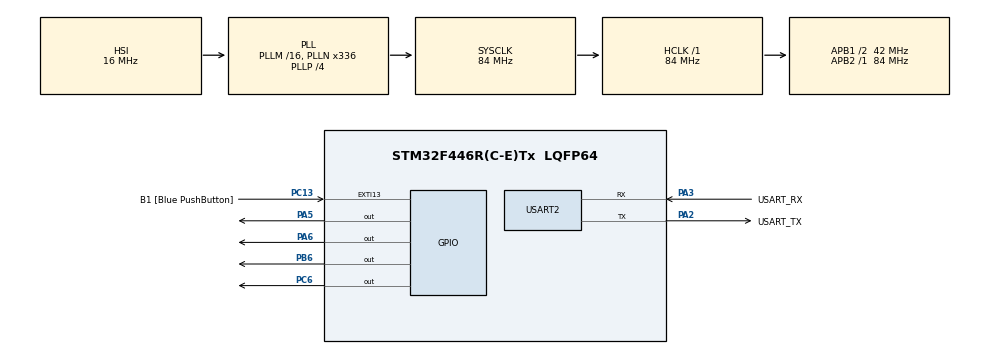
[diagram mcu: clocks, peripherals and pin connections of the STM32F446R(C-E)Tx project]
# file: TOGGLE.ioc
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Mcu.Family=STM32F4
Mcu.Name=STM32F446R(C-E)Tx
Mcu.Package=LQFP64
NVIC.PriorityGroup=NVIC_PRIORITYGROUP_0
PA13.GPIO_Label=TMS
PA13.Mode=Serial_Wire
PA13.Signal=SYS_JTMS-SWDIO
PA14.GPIO_Label=TCK
PA14.Mode=Serial_Wire
PA14.Signal=SYS_JTCK-SWCLK
PA2.GPIO_Label=USART_TX
PA2.Mode=Asynchronous
PA2.Signal=USART2_TX
PA3.GPIO_Label=USART_RX
PA3.Mode=Asynchronous
PA3.Signal=USART2_RX
PA5.Signal=GPIO_Output
PA6.Signal=GPIO_Output
PB3.GPIO_Label=SWO
PB3.Signal=SYS_JTDO-SWO
PB6.Signal=GPIO_Output
PC13.GPIO_Label=B1 [Blue PushButton]
PC13.GPIO_ModeDefaultEXTI=GPIO_MODE_IT_FALLING
PC13.Signal=GPXTI13
PC14-OSC32_IN.Mode=LSE-External-Oscillator
PC14-OSC32_IN.Signal=RCC_OSC32_IN
PC15-OSC32_OUT.Mode=LSE-External-Oscillator
PC15-OSC32_OUT.Signal=RCC_OSC32_OUT
PC6.Signal=GPIO_Output
PH0-OSC_IN.Mode=HSE-External-Oscillator
PH0-OSC_IN.Signal=RCC_OSC_IN
PH1-OSC_OUT.Mode=HSE-External-Oscillator
PH1-OSC_OUT.Signal=RCC_OSC_OUT
ProjectManager.HeapSize=0x200
ProjectManager.StackSize=0x400
ProjectManager.TargetToolchain=STM32CubeIDE
RCC.48MHZClocksFreq_Value=84000000
RCC.AHBFreq_Value=84000000
RCC.APB1CLKDivider=RCC_HCLK_DIV2
RCC.APB1Freq_Value=42000000
RCC.APB1TimFreq_Value=84000000
RCC.APB2Freq_Value=84000000
RCC.APB2TimFreq_Value=84000000
RCC.CortexFreq_Value=84000000
RCC.FLatency-AdvancedSettings=FLASH_LATENCY_2
RCC.HCLKFreq_Value=84000000
RCC.HSE_VALUE=8000000
RCC.HSI_VALUE=16000000
RCC.PLLN=336
RCC.PLLP=RCC_PLLP_DIV4
RCC.SYSCLKFreq_VALUE=84000000
RCC.SYSCLKSource=RCC_SYSCLKSOURCE_PLLCLK
RCC.USBFreq_Value=168000000
RCC.VCOOutputFreq_Value=336000000
USART2.VirtualMode=VM_ASYNC
board=NUCLEO-F446RE

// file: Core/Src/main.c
/* USER CODE BEGIN Header */
/**
  ******************************************************************************
  * @file           : main.c
  * @brief          : Main program body
  ******************************************************************************
  * @attention
  *
  * Copyright (c) 2026 STMicroelectronics.
  * All rights reserved.
  *
  * This software is licensed under terms that can be found in the LICENSE file
  * in the root directory of this software component.
  * If no LICENSE file comes with this software, it is provided AS-IS.
  *
  ******************************************************************************
  */
/* USER CODE END Header */
#include "main.h"

UART_HandleTypeDef huart2;

void SystemClock_Config(void);
static void MX_GPIO_Init(void);
static void MX_USART2_UART_Init(void);

int main(void)
{

  /* MCU Configuration--------------------------------------------------------*/

  /* Reset of all peripherals, Initializes the Flash interface and the Systick. */
  HAL_Init();

  /* Configure the system clock */
  SystemClock_Config();

  /* Initialize all configured peripherals */
  MX_GPIO_Init();
  MX_USART2_UART_Init();

  /* Infinite loop */
  /* USER CODE BEGIN WHILE */
  while (1)
  {
	  if(HAL_GPIO_ReadPin(GPIOC, GPIO_PIN_13)==0)
		  {

		  HAL_GPIO_WritePin(GPIOB, GPIO_PIN_6, SET);//pb6 set
		  HAL_Delay(1000);
	   HAL_GPIO_WritePin(GPIOB, GPIO_PIN_6, RESET);//pb6 reset
	    HAL_Delay(1000);

	    HAL_GPIO_WritePin(GPIOA, GPIO_PIN_6, SET);//pa6
	    		  HAL_Delay(1000);
	    	   HAL_GPIO_WritePin(GPIOA, GPIO_PIN_6, RESET);//pa6 reset
	    	    HAL_Delay(1000);

	    	    HAL_GPIO_WritePin(GPIOC, GPIO_PIN_6, SET);//pc6 set
	    	    		  HAL_Delay(1000);
	    	    	   HAL_GPIO_WritePin(GPIOC, GPIO_PIN_6, RESET);// pc6 reset
	    	    	    HAL_Delay(1000);

	    	    	    HAL_GPIO_WritePin(GPIOA, GPIO_PIN_5, SET);//pd2 set
	    	    	    		  HAL_Delay(1000);
	    	    	    	   HAL_GPIO_WritePin(GPIOA, GPIO_PIN_5, RESET);//pd2 reset
	    	    	    	    HAL_Delay(1000);
    /* USER CODE END WHILE */
		  }
  }
}

void SystemClock_Config(void)
{
  RCC_OscInitTypeDef RCC_OscInitStruct = {0};
  RCC_ClkInitTypeDef RCC_ClkInitStruct = {0};

  /** Configure the main internal regulator output voltage
  */
  __HAL_RCC_PWR_CLK_ENABLE();
  __HAL_PWR_VOLTAGESCALING_CONFIG(PWR_REGULATOR_VOLTAGE_SCALE3);

  /** Initializes the RCC Oscillators according to the specified parameters
  * in the RCC_OscInitTypeDef structure.
  */
  RCC_OscInitStruct.OscillatorType = RCC_OSCILLATORTYPE_HSI;
  RCC_OscInitStruct.HSIState = RCC_HSI_ON;
  RCC_OscInitStruct.HSICalibrationValue = RCC_HSICALIBRATION_DEFAULT;
  RCC_OscInitStruct.PLL.PLLState = RCC_PLL_ON;
  RCC_OscInitStruct.PLL.PLLSource = RCC_PLLSOURCE_HSI;
  RCC_OscInitStruct.PLL.PLLM = 16;
  RCC_OscInitStruct.PLL.PLLN = 336;
  RCC_OscInitStruct.PLL.PLLP = RCC_PLLP_DIV4;
  RCC_OscInitStruct.PLL.PLLQ = 2;
  RCC_OscInitStruct.PLL.PLLR = 2;
  if (HAL_RCC_OscConfig(&RCC_OscInitStruct) != HAL_OK)
  {
    Error_Handler();
  }

  /** Initializes the CPU, AHB and APB buses clocks
  */
  RCC_ClkInitStruct.ClockType = RCC_CLOCKTYPE_HCLK|RCC_CLOCKTYPE_SYSCLK
                              |RCC_CLOCKTYPE_PCLK1|RCC_CLOCKTYPE_PCLK2;
  RCC_ClkInitStruct.SYSCLKSource = RCC_SYSCLKSOURCE_PLLCLK;
  RCC_ClkInitStruct.AHBCLKDivider = RCC_SYSCLK_DIV1;
  RCC_ClkInitStruct.APB1CLKDivider = RCC_HCLK_DIV2;
  RCC_ClkInitStruct.APB2CLKDivider = RCC_HCLK_DIV1;

  if (HAL_RCC_ClockConfig(&RCC_ClkInitStruct, FLASH_LATENCY_2) != HAL_OK)
  {
    Error_Handler();
  }
}

static void MX_USART2_UART_Init(void)
{

  huart2.Instance = USART2;
  huart2.Init.BaudRate = 115200;
  huart2.Init.WordLength = UART_WORDLENGTH_8B;
  huart2.Init.StopBits = UART_STOPBITS_1;
  huart2.Init.Parity = UART_PARITY_NONE;
  huart2.Init.Mode = UART_MODE_TX_RX;
  huart2.Init.HwFlowCtl = UART_HWCONTROL_NONE;
  huart2.Init.OverSampling = UART_OVERSAMPLING_16;
  if (HAL_UART_Init(&huart2) != HAL_OK)
  {
    Error_Handler();
  }

}

static void MX_GPIO_Init(void)
{
  GPIO_InitTypeDef GPIO_InitStruct = {0};

  /* GPIO Ports Clock Enable */
  __HAL_RCC_GPIOC_CLK_ENABLE();
  __HAL_RCC_GPIOH_CLK_ENABLE();
  __HAL_RCC_GPIOA_CLK_ENABLE();
  __HAL_RCC_GPIOB_CLK_ENABLE();

  /*Configure GPIO pin Output Level */
  HAL_GPIO_WritePin(GPIOA, GPIO_PIN_5|GPIO_PIN_6, GPIO_PIN_RESET);

  /*Configure GPIO pin Output Level */
  HAL_GPIO_WritePin(GPIOC, GPIO_PIN_6, GPIO_PIN_RESET);

  /*Configure GPIO pin Output Level */
  HAL_GPIO_WritePin(GPIOB, GPIO_PIN_6, GPIO_PIN_RESET);

  /*Configure GPIO pin : B1_Pin */
  GPIO_InitStruct.Pin = B1_Pin;
  GPIO_InitStruct.Mode = GPIO_MODE_IT_FALLING;
  GPIO_InitStruct.Pull = GPIO_NOPULL;
  HAL_GPIO_Init(B1_GPIO_Port, &GPIO_InitStruct);

  /*Configure GPIO pins : PA5 PA6 */
  GPIO_InitStruct.Pin = GPIO_PIN_5|GPIO_PIN_6;
  GPIO_InitStruct.Mode = GPIO_MODE_OUTPUT_PP;
  GPIO_InitStruct.Pull = GPIO_NOPULL;
  GPIO_InitStruct.Speed = GPIO_SPEED_FREQ_LOW;
  HAL_GPIO_Init(GPIOA, &GPIO_InitStruct);

  /*Configure GPIO pin : PC6 */
  GPIO_InitStruct.Pin = GPIO_PIN_6;
  GPIO_InitStruct.Mode = GPIO_MODE_OUTPUT_PP;
  GPIO_InitStruct.Pull = GPIO_NOPULL;
  GPIO_InitStruct.Speed = GPIO_SPEED_FREQ_LOW;
  HAL_GPIO_Init(GPIOC, &GPIO_InitStruct);

  /*Configure GPIO pin : PB6 */
  GPIO_InitStruct.Pin = GPIO_PIN_6;
  GPIO_InitStruct.Mode = GPIO_MODE_OUTPUT_PP;
  GPIO_InitStruct.Pull = GPIO_NOPULL;
  GPIO_InitStruct.Speed = GPIO_SPEED_FREQ_LOW;
  HAL_GPIO_Init(GPIOB, &GPIO_InitStruct);

}

void Error_Handler(void)
{
  __disable_irq();
  while (1)
  {
  }
}
